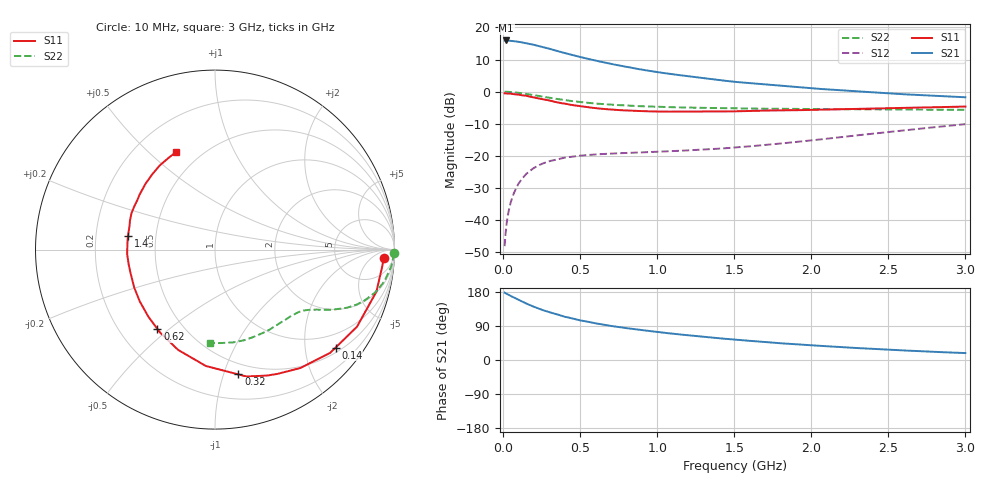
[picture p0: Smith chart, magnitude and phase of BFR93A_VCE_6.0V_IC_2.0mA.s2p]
! Infineon Technologies  Discrete & RF Semiconductors
! BFR93A
! VCE =  6.0 V,  IC =  2.0 mA
! Common Emitter S-Parameters:  Nov 2015
# GHz  S  MA  R  50
!  f  S11  S21  S12  S22
! GHz  MAG  ANG  MAG  ANG  MAG  ANG  MAG  ANG
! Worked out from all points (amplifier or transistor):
!   180 points, 10 MHz to 3 GHz, reference 50 ohm
!   highest |S21| = 15.9 dB at 20 MHz (marker M1)
!   |S21| within 3 dB of that: start of sweep to 330.5 MHz
!   unconditionally stable (mu >= 1): 993.7 MHz to 2.541 GHz
!   at 160 MHz: K = 0.19, MSG = 20.1 dB, |S12| = -25.3 dB
!   at 1.22 GHz: K = 1.12, MAG = 9.4 dB, |S12| = -18.3 dB
!   at 3 GHz: K = 0.91, MSG = 4.2 dB, |S12| = -10.1 dB
!   S11 on the Smith chart (normalised r, x): 10 MHz: 19, -16; 140 MHz: 0.62, -2.69; 320 MHz: 0.40, -1.12; 620 MHz: 0.36, -0.46; 1.4 GHz: 0.34, +0.07; 3 GHz: 0.37, +0.61
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0.01  0.9404 -2.9  6.247 177.6  0.0039 89.9  0.9964 -1.2
0.02  0.9366 -5.7  6.268 175.5  0.0076 86.1  0.9954 -2.2
0.035  0.9302 -10.1  6.227 172.2  0.0132 83.0  0.9905 -3.8
0.06  0.9193 -17.3  6.148 167.0  0.0224 79.2  0.9806 -6.5
0.1  0.9002 -28.5  5.988 159.0  0.0367 73.9  0.9607 -10.6
0.14  0.8659 -39.1  5.733 151.1  0.0489 67.7  0.9298 -14.2
0.15  0.8621 -41.8  5.687 149.0  0.052 66.6  0.9227 -15.1
0.2  0.8134 -54.2  5.359 140.5  0.0646 60.9  0.8812 -18.7
0.22  0.7917 -58.6  5.204 137.4  0.0686 58.5  0.8646 -19.9
0.26  0.7587 -67.7  4.928 131.3  0.0762 54.6  0.8324 -22.1
0.32  0.7073 -79.4  4.512 123.8  0.0844 50.3  0.7875 -24.5
0.4  0.6504 -94.5  3.992 114.1  0.0934 45.5  0.7353 -27.1
0.52  0.5846 -112.7  3.374 103.2  0.1013 41.2  0.6799 -29.5
0.62  0.5467 -125.9  2.973 95.5  0.1057 39.3  0.6463 -31.2
0.7  0.5264 -135.0  2.702 89.9  0.1083 38.6  0.6257 -32.4
0.8  0.509 -145.4  2.429 84.0  0.1106 38.7  0.6068 -33.8
1.02  0.4885 -164.3  1.981 73.0  0.116 40.5  0.5783 -37.4
1.4  0.4909 171.2  1.514 57.4  0.1287 47.3  0.5538 -45.0
1.52  0.4938 164.8  1.408 53.2  0.1354 49.9  0.5474 -47.9
2.02  0.5208 143.3  1.117 38.3  0.1756 58.0  0.5346 -61.1
2.52  0.5535 126.4  0.935 26.9  0.2376 60.1  0.5273 -76.2
3  0.5847 112.0  0.816 18.3  0.3111 57.5  0.5207 -93.3
